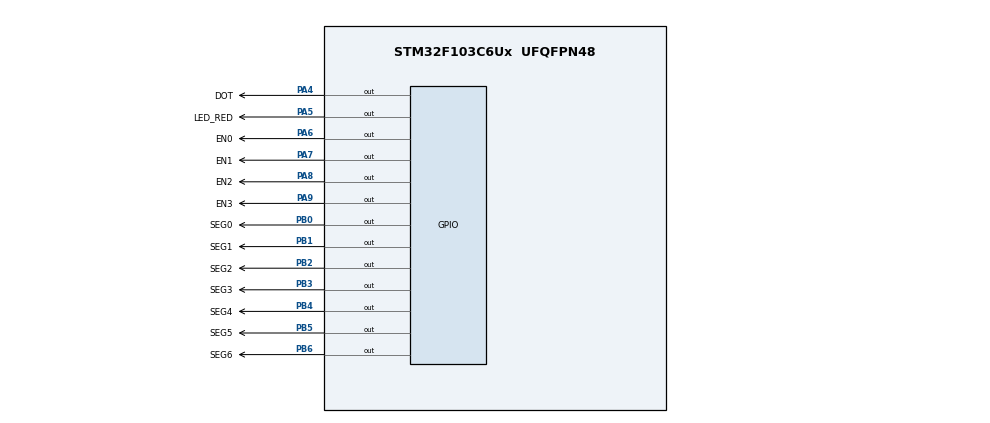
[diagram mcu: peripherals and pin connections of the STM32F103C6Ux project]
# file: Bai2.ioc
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Mcu.Family=STM32F1
Mcu.Name=STM32F103C6Ux
Mcu.Package=UFQFPN48
NVIC.PriorityGroup=NVIC_PRIORITYGROUP_4
NVIC.TIM2_IRQn=true\:0\:0\:false\:false\:true\:true\:true\:true
PA4.GPIO_Label=DOT
PA4.Signal=GPIO_Output
PA5.GPIO_Label=LED_RED
PA5.Signal=GPIO_Output
PA6.GPIO_Label=EN0
PA6.Signal=GPIO_Output
PA7.GPIO_Label=EN1
PA7.Signal=GPIO_Output
PA8.GPIO_Label=EN2
PA8.Signal=GPIO_Output
PA9.GPIO_Label=EN3
PA9.Signal=GPIO_Output
PB0.GPIO_Label=SEG0
PB0.Signal=GPIO_Output
PB1.GPIO_Label=SEG1
PB1.Signal=GPIO_Output
PB2.GPIO_Label=SEG2
PB2.Signal=GPIO_Output
PB3.GPIO_Label=SEG3
PB3.Signal=GPIO_Output
PB4.GPIO_Label=SEG4
PB4.Signal=GPIO_Output
PB5.GPIO_Label=SEG5
PB5.Signal=GPIO_Output
PB6.GPIO_Label=SEG6
PB6.Signal=GPIO_Output
ProjectManager.HeapSize=0x200
ProjectManager.StackSize=0x400
ProjectManager.TargetToolchain=STM32CubeIDE
RCC.APB1Freq_Value=8000000
RCC.APB2Freq_Value=8000000
TIM2.Period=9
TIM2.Prescaler=7999
VP_SYS_VS_ND.Mode=No_Debug
VP_TIM2_VS_ClockSourceINT.Mode=Internal
board=custom

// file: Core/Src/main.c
/* USER CODE BEGIN Header */
/**
 ******************************************************************************
 * @file           : main.c
 * @brief          : Main program body
 ******************************************************************************
 * @attention
 *
 * <h2><center>&copy; Copyright (c) 2022 STMicroelectronics.
 * All rights reserved.</center></h2>
 *
 * This software component is licensed by ST under BSD 3-Clause license,
 * the "License"; You may not use this file except in compliance with the
 * License. You may obtain a copy of the License at:
 *                        opensource.org/licenses/BSD-3-Clause
 *
 ******************************************************************************
 */
/* USER CODE END Header */
#include "main.h"

TIM_HandleTypeDef htim2;

void SystemClock_Config(void);
static void MX_GPIO_Init(void);
static void MX_TIM2_Init(void);

/* USER CODE BEGIN 0 */
void display7SEG(int num) {
	//num is the time displayed on the 7-segment led
	if (num == 0) {
		HAL_GPIO_WritePin(SEG0_GPIO_Port, SEG0_Pin, RESET);
		HAL_GPIO_WritePin(SEG1_GPIO_Port, SEG1_Pin, RESET);
		HAL_GPIO_WritePin(SEG2_GPIO_Port, SEG2_Pin, RESET);
		HAL_GPIO_WritePin(SEG3_GPIO_Port, SEG3_Pin, RESET);
		HAL_GPIO_WritePin(SEG4_GPIO_Port, SEG4_Pin, RESET);
		HAL_GPIO_WritePin(SEG5_GPIO_Port, SEG5_Pin, RESET);
		HAL_GPIO_WritePin(SEG6_GPIO_Port, SEG6_Pin, SET);
	}
	if (num == 1) {
		HAL_GPIO_WritePin(SEG0_GPIO_Port, SEG0_Pin, SET);
		HAL_GPIO_WritePin(SEG1_GPIO_Port, SEG1_Pin, RESET);
		HAL_GPIO_WritePin(SEG2_GPIO_Port, SEG2_Pin, RESET);
		HAL_GPIO_WritePin(SEG3_GPIO_Port, SEG3_Pin, SET);
		HAL_GPIO_WritePin(SEG4_GPIO_Port, SEG4_Pin, SET);
		HAL_GPIO_WritePin(SEG5_GPIO_Port, SEG5_Pin, SET);
		HAL_GPIO_WritePin(SEG6_GPIO_Port, SEG6_Pin, SET);
	}
	if (num == 2) {
		HAL_GPIO_WritePin(SEG0_GPIO_Port, SEG0_Pin, RESET);
		HAL_GPIO_WritePin(SEG1_GPIO_Port, SEG1_Pin, RESET);
		HAL_GPIO_WritePin(SEG2_GPIO_Port, SEG2_Pin, SET);
		HAL_GPIO_WritePin(SEG3_GPIO_Port, SEG3_Pin, RESET);
		HAL_GPIO_WritePin(SEG4_GPIO_Port, SEG4_Pin, RESET);
		HAL_GPIO_WritePin(SEG5_GPIO_Port, SEG5_Pin, SET);
		HAL_GPIO_WritePin(SEG6_GPIO_Port, SEG6_Pin, RESET);
	}
	if (num == 3) {
		HAL_GPIO_WritePin(SEG0_GPIO_Port, SEG0_Pin, RESET);
		HAL_GPIO_WritePin(SEG1_GPIO_Port, SEG1_Pin, RESET);
		HAL_GPIO_WritePin(SEG2_GPIO_Port, SEG2_Pin, RESET);
		HAL_GPIO_WritePin(SEG3_GPIO_Port, SEG3_Pin, RESET);
		HAL_GPIO_WritePin(SEG4_GPIO_Port, SEG4_Pin, SET);
		HAL_GPIO_WritePin(SEG5_GPIO_Port, SEG5_Pin, SET);
		HAL_GPIO_WritePin(SEG6_GPIO_Port, SEG6_Pin, RESET);
	}
	if (num == 4) {
		HAL_GPIO_WritePin(SEG0_GPIO_Port, SEG0_Pin, SET);
		HAL_GPIO_WritePin(SEG1_GPIO_Port, SEG1_Pin, RESET);
		HAL_GPIO_WritePin(SEG2_GPIO_Port, SEG2_Pin, RESET);
		HAL_GPIO_WritePin(SEG3_GPIO_Port, SEG3_Pin, SET);
		HAL_GPIO_WritePin(SEG4_GPIO_Port, SEG4_Pin, SET);
		HAL_GPIO_WritePin(SEG5_GPIO_Port, SEG5_Pin, RESET);
		HAL_GPIO_WritePin(SEG6_GPIO_Port, SEG6_Pin, RESET);
	}
	if (num == 5) {
		HAL_GPIO_WritePin(SEG0_GPIO_Port, SEG0_Pin, RESET);
		HAL_GPIO_WritePin(SEG1_GPIO_Port, SEG1_Pin, SET);
		HAL_GPIO_WritePin(SEG2_GPIO_Port, SEG2_Pin, RESET);
		HAL_GPIO_WritePin(SEG3_GPIO_Port, SEG3_Pin, RESET);
		HAL_GPIO_WritePin(SEG4_GPIO_Port, SEG4_Pin, SET);
		HAL_GPIO_WritePin(SEG5_GPIO_Port, SEG5_Pin, RESET);
		HAL_GPIO_WritePin(SEG6_GPIO_Port, SEG6_Pin, RESET);
	}
	if (num == 6) {
		HAL_GPIO_WritePin(SEG0_GPIO_Port, SEG0_Pin, RESET);
		HAL_GPIO_WritePin(SEG1_GPIO_Port, SEG1_Pin, SET);
		HAL_GPIO_WritePin(SEG2_GPIO_Port, SEG2_Pin, RESET);
		HAL_GPIO_WritePin(SEG3_GPIO_Port, SEG3_Pin, RESET);
		HAL_GPIO_WritePin(SEG4_GPIO_Port, SEG4_Pin, RESET);
		HAL_GPIO_WritePin(SEG5_GPIO_Port, SEG5_Pin, RESET);
		HAL_GPIO_WritePin(SEG6_GPIO_Port, SEG6_Pin, RESET);
	}
	if (num == 7) {
		HAL_GPIO_WritePin(SEG0_GPIO_Port, SEG0_Pin, RESET);
		HAL_GPIO_WritePin(SEG1_GPIO_Port, SEG1_Pin, RESET);
		HAL_GPIO_WritePin(SEG2_GPIO_Port, SEG2_Pin, RESET);
		HAL_GPIO_WritePin(SEG3_GPIO_Port, SEG3_Pin, SET);
		HAL_GPIO_WritePin(SEG4_GPIO_Port, SEG4_Pin, SET);
		HAL_GPIO_WritePin(SEG5_GPIO_Port, SEG5_Pin, SET);
		HAL_GPIO_WritePin(SEG6_GPIO_Port, SEG6_Pin, SET);
	}
	if (num == 8) {
		HAL_GPIO_WritePin(SEG0_GPIO_Port, SEG0_Pin, RESET);
		HAL_GPIO_WritePin(SEG1_GPIO_Port, SEG1_Pin, RESET);
		HAL_GPIO_WritePin(SEG2_GPIO_Port, SEG2_Pin, RESET);
		HAL_GPIO_WritePin(SEG3_GPIO_Port, SEG3_Pin, RESET);
		HAL_GPIO_WritePin(SEG4_GPIO_Port, SEG4_Pin, RESET);
		HAL_GPIO_WritePin(SEG5_GPIO_Port, SEG5_Pin, RESET);
		HAL_GPIO_WritePin(SEG6_GPIO_Port, SEG6_Pin, RESET);
	}
	if (num == 9) {
		HAL_GPIO_WritePin(SEG0_GPIO_Port, SEG0_Pin, RESET);
		HAL_GPIO_WritePin(SEG1_GPIO_Port, SEG1_Pin, RESET);
		HAL_GPIO_WritePin(SEG2_GPIO_Port, SEG2_Pin, RESET);
		HAL_GPIO_WritePin(SEG3_GPIO_Port, SEG3_Pin, RESET);
		HAL_GPIO_WritePin(SEG4_GPIO_Port, SEG4_Pin, SET);
		HAL_GPIO_WritePin(SEG5_GPIO_Port, SEG5_Pin, RESET);
		HAL_GPIO_WritePin(SEG6_GPIO_Port, SEG6_Pin, RESET);
	}
}
/* USER CODE END 0 */

int main(void) {

	/* MCU Configuration--------------------------------------------------------*/

	/* Reset of all peripherals, Initializes the Flash interface and the Systick. */
	HAL_Init();

	/* Configure the system clock */
	SystemClock_Config();

	/* Initialize all configured peripherals */
	MX_GPIO_Init();
	MX_TIM2_Init();
	/* USER CODE BEGIN 2 */
	HAL_TIM_Base_Start_IT(&htim2);
	/* USER CODE END 2 */

	/* Infinite loop */
	while (1) {

	}
}

void SystemClock_Config(void) {
	RCC_OscInitTypeDef RCC_OscInitStruct = { 0 };
	RCC_ClkInitTypeDef RCC_ClkInitStruct = { 0 };

	/** Initializes the RCC Oscillators according to the specified parameters
	 * in the RCC_OscInitTypeDef structure.
	 */
	RCC_OscInitStruct.OscillatorType = RCC_OSCILLATORTYPE_HSI;
	RCC_OscInitStruct.HSIState = RCC_HSI_ON;
	RCC_OscInitStruct.HSICalibrationValue = RCC_HSICALIBRATION_DEFAULT;
	RCC_OscInitStruct.PLL.PLLState = RCC_PLL_NONE;
	if (HAL_RCC_OscConfig(&RCC_OscInitStruct) != HAL_OK) {
		Error_Handler();
	}

	/** Initializes the CPU, AHB and APB buses clocks
	 */
	RCC_ClkInitStruct.ClockType = RCC_CLOCKTYPE_HCLK | RCC_CLOCKTYPE_SYSCLK
			| RCC_CLOCKTYPE_PCLK1 | RCC_CLOCKTYPE_PCLK2;
	RCC_ClkInitStruct.SYSCLKSource = RCC_SYSCLKSOURCE_HSI;
	RCC_ClkInitStruct.AHBCLKDivider = RCC_SYSCLK_DIV1;
	RCC_ClkInitStruct.APB1CLKDivider = RCC_HCLK_DIV1;
	RCC_ClkInitStruct.APB2CLKDivider = RCC_HCLK_DIV1;

	if (HAL_RCC_ClockConfig(&RCC_ClkInitStruct, FLASH_LATENCY_0) != HAL_OK) {
		Error_Handler();
	}
}

static void MX_TIM2_Init(void) {

	TIM_ClockConfigTypeDef sClockSourceConfig = { 0 };
	TIM_MasterConfigTypeDef sMasterConfig = { 0 };

	htim2.Instance = TIM2;
	htim2.Init.Prescaler = 7999;
	htim2.Init.CounterMode = TIM_COUNTERMODE_UP;
	htim2.Init.Period = 9;
	htim2.Init.ClockDivision = TIM_CLOCKDIVISION_DIV1;
	htim2.Init.AutoReloadPreload = TIM_AUTORELOAD_PRELOAD_DISABLE;
	if (HAL_TIM_Base_Init(&htim2) != HAL_OK) {
		Error_Handler();
	}
	sClockSourceConfig.ClockSource = TIM_CLOCKSOURCE_INTERNAL;
	if (HAL_TIM_ConfigClockSource(&htim2, &sClockSourceConfig) != HAL_OK) {
		Error_Handler();
	}
	sMasterConfig.MasterOutputTrigger = TIM_TRGO_RESET;
	sMasterConfig.MasterSlaveMode = TIM_MASTERSLAVEMODE_DISABLE;
	if (HAL_TIMEx_MasterConfigSynchronization(&htim2, &sMasterConfig)
			!= HAL_OK) {
		Error_Handler();
	}

}

static void MX_GPIO_Init(void) {
	GPIO_InitTypeDef GPIO_InitStruct = { 0 };

	/* GPIO Ports Clock Enable */
	__HAL_RCC_GPIOA_CLK_ENABLE();
	__HAL_RCC_GPIOB_CLK_ENABLE();

	/*Configure GPIO pin Output Level */
	HAL_GPIO_WritePin(GPIOA,
			DOT_Pin | LED_RED_Pin | EN0_Pin | EN1_Pin | EN2_Pin | EN3_Pin,
			GPIO_PIN_RESET);

	/*Configure GPIO pin Output Level */
	HAL_GPIO_WritePin(GPIOB,
			SEG0_Pin | SEG1_Pin | SEG2_Pin | SEG3_Pin | SEG4_Pin | SEG5_Pin
					| SEG6_Pin, GPIO_PIN_RESET);

	/*Configure GPIO pins : DOT_Pin LED_RED_Pin EN0_Pin EN1_Pin
	 EN2_Pin EN3_Pin */
	GPIO_InitStruct.Pin = DOT_Pin | LED_RED_Pin | EN0_Pin | EN1_Pin | EN2_Pin
			| EN3_Pin;
	GPIO_InitStruct.Mode = GPIO_MODE_OUTPUT_PP;
	GPIO_InitStruct.Pull = GPIO_NOPULL;
	GPIO_InitStruct.Speed = GPIO_SPEED_FREQ_LOW;
	HAL_GPIO_Init(GPIOA, &GPIO_InitStruct);

	/*Configure GPIO pins : SEG0_Pin SEG1_Pin SEG2_Pin SEG3_Pin
	 SEG4_Pin SEG5_Pin SEG6_Pin */
	GPIO_InitStruct.Pin = SEG0_Pin | SEG1_Pin | SEG2_Pin | SEG3_Pin | SEG4_Pin
			| SEG5_Pin | SEG6_Pin;
	GPIO_InitStruct.Mode = GPIO_MODE_OUTPUT_PP;
	GPIO_InitStruct.Pull = GPIO_NOPULL;
	GPIO_InitStruct.Speed = GPIO_SPEED_FREQ_LOW;
	HAL_GPIO_Init(GPIOB, &GPIO_InitStruct);

}

/* USER CODE BEGIN 4 */
int count = 200;
void HAL_TIM_PeriodElapsedCallback(TIM_HandleTypeDef *htim) {
	count--;
	if (count >= 150) {
		//display number "1" on the first seven segment
		HAL_GPIO_WritePin(EN0_GPIO_Port, EN0_Pin, RESET);
		HAL_GPIO_WritePin(EN1_GPIO_Port, EN1_Pin, SET);
		HAL_GPIO_WritePin(EN2_GPIO_Port, EN2_Pin, SET);
		HAL_GPIO_WritePin(EN3_GPIO_Port, EN3_Pin, SET);
		//two leds and red led are turn on
		HAL_GPIO_WritePin(DOT_GPIO_Port, DOT_Pin, RESET);
		HAL_GPIO_WritePin(LED_RED_GPIO_Port, LED_RED_Pin, RESET);
		display7SEG(1);
	} else if (count >= 100 && count < 150) {
		//display number "2" on the second seven segment
		HAL_GPIO_WritePin(EN0_GPIO_Port, EN0_Pin, SET);
		HAL_GPIO_WritePin(EN1_GPIO_Port, EN1_Pin, RESET);
		HAL_GPIO_WritePin(EN2_GPIO_Port, EN2_Pin, SET);
		HAL_GPIO_WritePin(EN3_GPIO_Port, EN3_Pin, SET);
		//two leds and red led are turn on
		HAL_GPIO_WritePin(DOT_GPIO_Port, DOT_Pin, RESET);
		HAL_GPIO_WritePin(LED_RED_GPIO_Port, LED_RED_Pin, RESET);
		display7SEG(2);
	} else if (count >= 50 && count < 100) {
		//display number "3" on the third seven segment
		HAL_GPIO_WritePin(EN0_GPIO_Port, EN0_Pin, SET);
		HAL_GPIO_WritePin(EN1_GPIO_Port, EN1_Pin, SET);
		HAL_GPIO_WritePin(EN2_GPIO_Port, EN2_Pin, RESET);
		HAL_GPIO_WritePin(EN3_GPIO_Port, EN3_Pin, SET);
		//two leds and red led are turn off
		HAL_GPIO_WritePin(DOT_GPIO_Port, DOT_Pin, SET);
		HAL_GPIO_WritePin(LED_RED_GPIO_Port, LED_RED_Pin, SET);
		display7SEG(3);
	} else if (count >= 0 && count < 50) {
		if (count == 0)
			count = 200;
		//display number "0" on the fourth seven segment
		HAL_GPIO_WritePin(EN0_GPIO_Port, EN0_Pin, SET);
		HAL_GPIO_WritePin(EN1_GPIO_Port, EN1_Pin, SET);
		HAL_GPIO_WritePin(EN2_GPIO_Port, EN2_Pin, SET);
		HAL_GPIO_WritePin(EN3_GPIO_Port, EN3_Pin, RESET);
		//two leds and red led are turn off
		HAL_GPIO_WritePin(DOT_GPIO_Port, DOT_Pin, SET);
		HAL_GPIO_WritePin(LED_RED_GPIO_Port, LED_RED_Pin, SET);
		display7SEG(0);
	}
}
/* USER CODE END 4 */

void Error_Handler(void) {
	__disable_irq();
	while (1) {
	}
}
